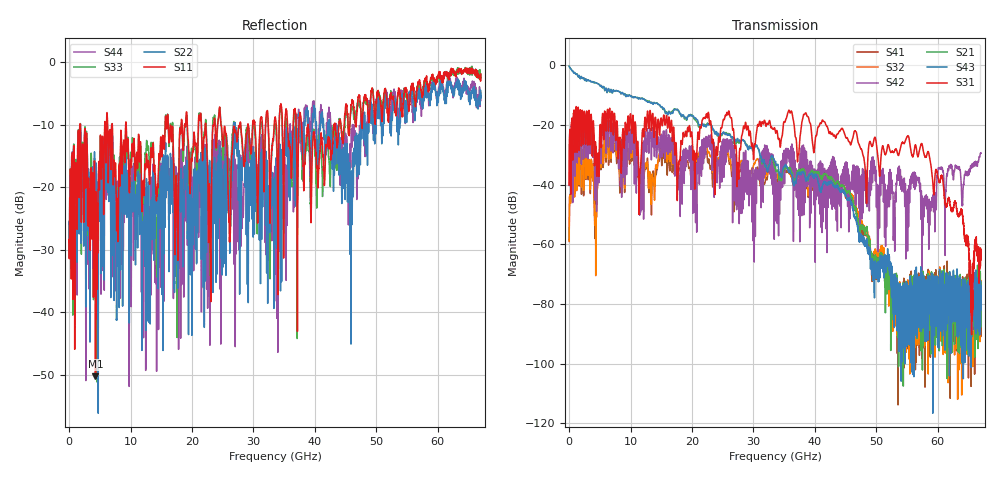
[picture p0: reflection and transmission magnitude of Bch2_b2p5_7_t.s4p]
!Agilent Technologies,N5247A,US51170199,A.09.90.13
!Agilent N5247A: A.09.90.13
!Date: Tuesday, October 23, 2018 10:31:38
!Correction: S11(Full 4 Port(1,2,3,4))
!S12(Full 4 Port(1,2,3,4))
!S13(Full 4 Port(1,2,3,4))
!S14(Full 4 Port(1,2,3,4))
!S21(Full 4 Port(1,2,3,4))
!S22(Full 4 Port(1,2,3,4))
!S23(Full 4 Port(1,2,3,4))
!S24(Full 4 Port(1,2,3,4))
!S31(Full 4 Port(1,2,3,4))
!S32(Full 4 Port(1,2,3,4))
!S33(Full 4 Port(1,2,3,4))
!S34(Full 4 Port(1,2,3,4))
!S41(Full 4 Port(1,2,3,4))
!S42(Full 4 Port(1,2,3,4))
!S43(Full 4 Port(1,2,3,4))
!S44(Full 4 Port(1,2,3,4))
!S4P File: Measurements: <S11,S12,S13,S14>,
!<S21,S22,S23,S24>,
!<S31,S32,S33,S34>,
!<S41,S42,S43,S44>:
# Hz S  dB  R 50
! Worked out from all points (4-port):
!   6701 points, 10 MHz to 67 GHz, reference 50 ohm
!   strongest paths, dB at 10 MHz, 16.76 GHz, 33.51 GHz, 50.25 GHz, 67 GHz:
!     S31: -40.2, -23.0, -21.6, -30.9, -64.6
!     S43: -0.3, -15.9, -32.3, -67.4, -75.8
!     S21: -0.3, -15.4, -34.2, -66.0, -78.3
!     S42: -40.3, -27.3, -36.3, -61.3, -29.4
!     S32: -59.1, -32.4, -36.0, -62.2, -72.7
!     S41: -58.6, -35.3, -38.6, -65.1, -74.2
!   lowest |S11| = -50.3 dB at 4.299 GHz (marker M1), VSWR 1.01, Z = 50.3 - j0.0206 ohm
!   |S11| at or under -10 dB: 1.852 GHz to 5.799 GHz (3.946 GHz wide, 103 % of centre); 9.3 GHz to 15.62 GHz (6.321 GHz wide, 50.7 % of centre); 38.9 GHz to 43.09 GHz (4.189 GHz wide, 10.2 % of centre)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
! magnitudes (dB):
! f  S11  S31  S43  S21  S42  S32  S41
! 10 MHz  -28.7  -40.2  -0.3  -0.3  -40.3  -59.1  -58.6
! 1.63 GHz  -18.2  -23.4  -3.5  -3.5  -25.4  -40.0  -40.5
! 4.299 GHz  -50.3  -25.9  -5.9  -5.9  -28.3  -48.1  -50.8
! 6.039 GHz  -13.5  -21.3  -7.8  -7.9  -29.2  -29.6  -30.5
! 32.9 GHz  -15.7  -20.9  -30.7  -30.8  -36.3  -31.3  -33.3
! 55.07 GHz  -5.4  -23.8  -77.9  -88.3  -57.1  -83.7  -90.1
! 67 GHz  -1.9  -64.6  -75.8  -78.3  -29.4  -72.7  -74.2
